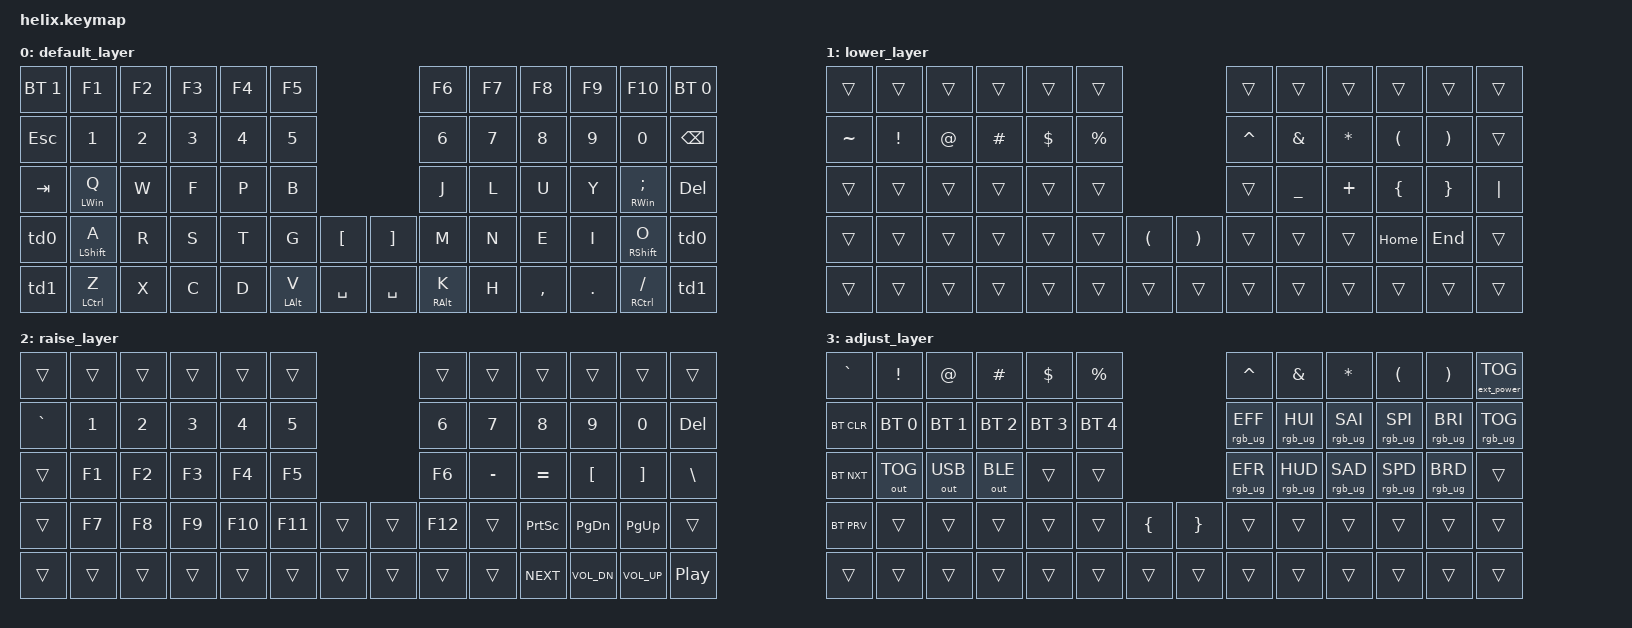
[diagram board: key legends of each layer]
/*
 * Copyright (c) 2020 The ZMK Contributors
 *
 * SPDX-License-Identifier: MIT
 */

 #include <behaviors.dtsi>
 #include <dt-bindings/zmk/keys.h>
 #include <dt-bindings/zmk/bt.h>
 #include <dt-bindings/zmk/rgb.h>
 #include <dt-bindings/zmk/ext_power.h>
 #include <dt-bindings/zmk/outputs.h>

 #define DEFAULT 0
 #define LOWER  1
 #define RAISE  2
 #define ADJUST 3
 #define NAV 1

/* NOTE: At the time of the creation of this keymap, there are no specified codes for 'eisuu' and 'kana' input in ZMK.
However, 'LANG1' and 'LANG2' are fully-functioning candidates for 'kana' and 'eisuu' input respectively.
As such, those are in use within the default layer at this time.*/

/ {
  combos {
    compatible = "zmk,combos";
    //left side
    combo_rs_bspc { 
      key-positions = <38 39>;
      bindings = <&kp BSPC>;
    };
    combo_st_space { 
      key-positions = <39 40>;
      bindings = <&kp SPACE>;
    };
    combo_ft_quote { 
      key-positions = <27 40>;
      bindings = <&kp SQT>;
    };
    combo_frd_lparen { 
      key-positions = <27 38 54>;
      bindings = <&kp LPAR>;
    };
    combo_ftx_rparen { 
      key-positions = <27 40 52>;
      bindings = <&kp RPAR>;
    };
    combo_xc_home { 
      key-positions = <52 53>;
      bindings = <&kp HOME>;
    };
    combo_cd_end { 
      key-positions = <53 54>;
      bindings = <&kp END>;
    };
    combo_xd_pgup { 
      key-positions = <52 54>;
      bindings = <&kp PG_UP>;
    };
    combo_xcd_pgdn { 
      key-positions = <52 53 54>;
      bindings = <&kp PG_UP>;
    };
    combo_wfp_enter { 
      key-positions = <26 27 28>;
      bindings = <&kp ENTER>;
    };
    combo_rst_down { 
      key-positions = <38 39 40>;
      bindings = <&kp DOWN>;
    };
    combo_wf_left { 
      key-positions = <26 27>;
      bindings = <&kp LEFT>;
    };
    combo_ws_at { 
      key-positions = <26 39>;
      bindings = <&kp AT>;
    };
    combo_fp_right { 
      key-positions = <27 28>;
      bindings = <&kp RIGHT>;
    };
    combo_rft_up { 
      key-positions = <38 27 40>;
      bindings = <&kp UP>;
    };
    combo_bg_v { 
      key-positions = <29 41>;
      bindings = <&kp V>;
    };
    combo_rf_pound { 
      key-positions = <38 27>;
      bindings = <&kp POUND>;
    };
    combo_sd_backslash { 
      key-positions = <39 54>;
      bindings = <&kp BACKSLASH>;
    };
    combo_xs_slash { 
      key-positions = <52 39>;
      bindings = <&kp SLASH>;
    };
    combo_rc_f2 { 
      key-positions = <38 53>;
      bindings = <&kp F2>;
    };
    combo_ct_f3 { 
      key-positions = <53 40>;
      bindings = <&kp F3>;
    };
    combo_sp_tick { 
      key-positions = <39 28>;
      bindings = <&kp GRAVE>;
    };
    //right
    combo_ne_space { 
      key-positions = <45 46>;
      bindings = <&kp SPACE>;
    };
    combo_ei_delete { 
      key-positions = <46 47>;
      bindings = <&kp DEL>;
    };
    combo_lu_minus { 
      key-positions = <31 32>;
      bindings = <&kp MINUS>;
    };
    combo_luy_enter { 
      key-positions = <31 32 33>;
      bindings = <&kp ENTER>;
    };
    combo_uy_equal { 
      key-positions = <32 33>;
      bindings = <&kp EQUAL>;
    };
    combo_ly_tab { 
      key-positions = <31 33>;
      bindings = <&kp TAB>;
    };
    combo_jm_k { 
      key-positions = <30 44>;
      bindings = <&kp K>;
    };
    combo_hedot_asterisk { 
      key-positions = <59 46 61>;
      bindings = <&kp STAR>;
    };
    combo_l8y_caret { 
      key-positions = <31 20 33>;
      bindings = <&kp CARET>;
    };
    combo_nudot_dollar { 
      key-positions = <45 32 61>;
      bindings = <&kp DOLLAR>;
    };
    combo_hui_ampersand { 
      key-positions = <59 32 47>;
      bindings = <&kp AMPERSAND>;
    };
    combo_ui_percentage { 
      key-positions = <32 47>;
      bindings = <&kp PERCENT>;
    };
    combo_hcomma_lbracket { 
      key-positions = <59 60>;
      bindings = <&kp LBRC>;
    };
    combo_commadot_rbracket { 
      key-positions = <60 61 >;
      bindings = <&kp RBRC>;
    };
    combo_ln_bang { 
      key-positions = <31 45>;
      bindings = <&kp EXCLAMATION>;
    };
    combo_ue_pipe { 
      key-positions = <32 46>;
      bindings = <&kp PIPE>;
    };
    combo_ncomma_f4 { 
      key-positions = <45 60>;
      bindings = <&kp F4>;
    };
    combo_commai_f5 { 
      key-positions = <60 47>;
      bindings = <&kp F5>;
    };

/*
    //combo template
    combo_ { 
      key-positions = < >;
      bindings = <&kp >;
    };
*/

  };
  behaviors {

    td0: tap_dance_0 {
      compatible = "zmk,behavior-tap-dance";
      #binding-cells = <0>;
      tapping-term-ms = <200>;
      bindings = <&mo 1>, <&tog 1>;
    };

    td1: tap_dance_1 {
      compatible = "zmk,behavior-tap-dance";
      #binding-cells = <0>;
      tapping-term-ms = <200>;
      bindings = <&mo 2>, <&tog 2>;
    };

    hml: home_row_mod_left {
            compatible = "zmk,behavior-hold-tap";
            #binding-cells = <2>;
            flavor = "balanced";
            require-prior-idle-ms = <150>;
            tapping-term-ms = <280>;
            quick-tap-ms = <175>;
            bindings = <&kp>, <&kp>;
            hold-trigger-key-positions = < 6 7 8 9 10 11 18 19 20 21 22 23 30 31 32 33 34 35 44 45 46 47 48 49 57 58 59 60 61 62 63 >; // List of keys on the right side of the keyboard
            hold-trigger-on-release;
     };
     hmr: home_row_mod_right {
            compatible = "zmk,behavior-hold-tap";
            #binding-cells = <2>;
            flavor = "balanced";
            require-prior-idle-ms = <150>;
            tapping-term-ms = <280>;
            quick-tap-ms = <175>;
            bindings = <&kp>, <&kp>;
            hold-trigger-key-positions = < 0 1 2 3 4 5 12 13 14 15 16 17 24 25 26 27 28 29 36 37 38 39 40 41 42 50 51 52 53 54 55 56 >; // List of keys on the left side of the keyboard
            hold-trigger-on-release;
     };
  };

       keymap {
              compatible = "zmk,keymap";

              default_layer {
 // ---------------------------------------------------------------------------------------------------------------------------------
 // | BT_SEL |  F1    |  F2    |  F3    |  F4    |  F5    |                                      |  F6    |  F7    |  F8    |  F9    |  F10   | BT_SEL |
 // | ESC    |   1    |   2    |   3    |   4    |   5    |                                      |   6    |   7    |   8    |   9    |   0    |  BSPC   |
 // |  TAB   |   Q    |   W    |   F    |   P    |   B    |                                      |   J    |   L    |   U    |   Y    |   ;    |  DEL    |
 // |  LT 1  |   A    |   R    |   S    |   T    |   G    |  LBKT   |                   | RBKT   |   M    |   N    |   E    |   I    |   O    |  LT 1   |
 // |  LT 2  |   Z    |   X    |   C    |   D    |   V    |  SPACE  |                   | SPACE  |   K    |   H    |   ,    |   .    |   /    |  LR 2   |
                     bindings = <
       &bt BT_SEL 1 &kp F1         &kp F2  &kp F3  &kp F4  &kp F5                             &kp F6       &kp F7  &kp F8    &kp F9     &kp F10           &bt BT_SEL 0
       &kp ESC      &kp N1         &kp N2  &kp N3  &kp N4  &kp N5                             &kp N6       &kp N7  &kp N8    &kp N9     &kp N0            &kp BSPC
       &kp TAB      &hml LWIN Q    &kp W   &kp F   &kp P   &kp B                              &kp J        &kp L   &kp U     &kp Y      &hmr RWIN SEMI    &kp DEL
       &td0         &hml LSHIFT A  &kp R   &kp S   &kp T   &kp G        &kp LBKT   &kp RBKT   &kp M        &kp N   &kp E     &kp I      &hmr RSHIFT O     &td0
       &td1         &hml LCTRL  Z  &kp X   &kp C   &kp D   &hml LALT V  &kp SPACE  &kp SPACE  &hmr RALT K  &kp H   &kp COMMA &kp PERIOD &hmr RCTRL SLASH  &td1
                     >;
              };
              lower_layer {
 // ---------------------------------------------------------------------------------------------------------------------------------
 // |      |      |      |      |      |      |                                  |      |      |      |      |      |      |
 // |  ~   |  !   |  @   |  #   |  $   |  %   |                                  |  ^   |  &   |  *   |  (   |  )   |      |
 // |      |      |      |      |      |      |                                  |      |  _   |  +   |  {   |  }   | PIPE |
 // |      |      |      |      |      |      |  (   |                    |  )   |      |      |      | HOME | END  |      |
 // |      |      |      |      |      |      |      |                    |      |      |      |      |      |      |      |
                     bindings = <
       &trans    &trans   &trans &trans   &trans   &trans                             &trans    &trans    &trans    &trans   &trans   &trans
       &kp TILDE &kp EXCL &kp AT &kp HASH &kp DLLR &kp PRCNT                          &kp CARET &kp AMPS  &kp ASTRK &kp LPAR &kp RPAR &trans
       &trans    &trans   &trans &trans   &trans   &trans                             &trans    &kp UNDER &kp PLUS  &kp LBRC &kp RBRC &kp PIPE
       &trans    &trans   &trans &trans   &trans   &trans    &kp LPAR        &kp RPAR &trans    &trans    &trans    &kp HOME &kp END  &trans
       &trans    &trans   &trans &trans   &trans   &trans    &trans          &trans   &trans    &trans    &trans    &trans   &trans   &trans
                     >;
              };
              raise_layer {
 // ---------------------------------------------------------------------------------------------------------------------------------
 // |       |       |       |       |       |       |                                    |       |       |       |       |       |       |
 // |   `   |   1   |   2   |   3   |   4   |   5   |                                    |   6   |   7   |   8   |   9   |   0   |  DEL  |
 // |       |  F1   |  F2   |  F3   |  F4   |  F5   |                                    |  F6   |   -   |   =   |   [   |   ]   |   \   |
 // |       |  F7   |  F8   |  F9   |  F10  |  F11  |       |                    |       |  F12  |       | PSCRN | PG_DN | PG_UP |       |
 // |       |       |       |       |       |       |       |                    |       |       |       | NEXT  | VOL-  | VOL+  | PLAY  |
                     bindings = <
       &trans    &trans &trans &trans &trans  &trans                       &trans  &trans    &trans     &trans       &trans       &trans
       &kp GRAVE &kp N1 &kp N2 &kp N3 &kp N4  &kp N5                       &kp N6  &kp N7    &kp N8     &kp N9       &kp N0       &kp DEL
       &trans    &kp F1 &kp F2 &kp F3 &kp F4  &kp F5                       &kp F6  &kp MINUS &kp EQUAL  &kp LBKT     &kp RBKT     &kp BSLH
       &trans    &kp F7 &kp F8 &kp F9 &kp F10 &kp F11 &trans        &trans &kp F12 &trans    &kp PSCRN  &kp PG_DN    &kp PG_UP    &trans
       &trans    &trans &trans &trans &trans  &trans  &trans        &trans &trans  &trans    &kp C_NEXT &kp C_VOL_DN &kp C_VOL_UP &kp C_PP
                     >;
              };
              adjust_layer {
 // ---------------------------------------------------------------------------------------------------------------------------------
 // |    `     |    !     |    @     |    #     |    $     |    %     |                                          |    ^     |    &     |    *     |    (     |    )     |  EP TOG  |
 // |  BT CLR  | BT SEL0  | BT SEL1  | BT SEL2  | BGT SEL3 | BT SEL4  |                                          | RGB EFF+ | RGB HUE+ | RGB SAT+ | RGB SPD+ | RGB BRI+ | RGB TOG  |
 // |  BT NXT  | OUT TOG  | OUT USB  | OUT BLE  |          |          |                                          | RGB EFF- | RGB HUE- | RGB SAT- | RGB SPD- | RGB BRI- |          |
 // |  BT PRV  |          |          |          |          |          |    {     |                    |    }     |          |          |          |          |          |          |
 // |          |          |          |          |          |          |          |                    |          |          |          |          |          |          |          |
                     bindings = <
       &kp GRAVE  &kp EXCL     &kp AT       &kp HASH     &kp DLLR     &kp PRCNT                             &kp CARET       &kp AMPS        &kp ASTRK       &kp LPAR        &kp RPAR        &ext_power EP_TOG
       &bt BT_CLR &bt BT_SEL 0 &bt BT_SEL 1 &bt BT_SEL 2 &bt BT_SEL 3 &bt BT_SEL 4                          &rgb_ug RGB_EFF &rgb_ug RGB_HUI &rgb_ug RGB_SAI &rgb_ug RGB_SPI &rgb_ug RGB_BRI &rgb_ug RGB_TOG
       &bt BT_NXT &out OUT_TOG &out OUT_USB &out OUT_BLE &trans       &trans                                &rgb_ug RGB_EFR &rgb_ug RGB_HUD &rgb_ug RGB_SAD &rgb_ug RGB_SPD &rgb_ug RGB_BRD &trans
       &bt BT_PRV &trans       &trans       &trans       &trans       &trans       &kp LBRC        &kp RBRC &trans          &trans          &trans          &trans          &trans          &trans
       &trans     &trans       &trans       &trans       &trans       &trans       &trans          &trans   &trans          &trans          &trans          &trans          &trans          &trans
                     >;
              };
       };
};
